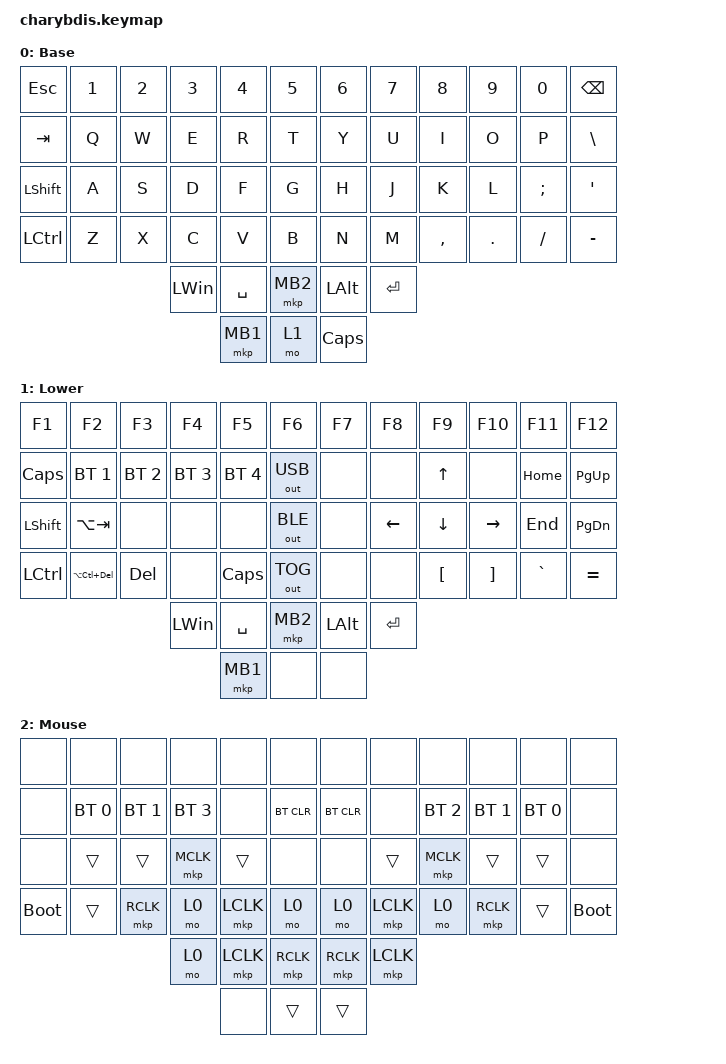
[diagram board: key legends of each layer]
#include <behaviors/mouse_keys.dtsi>
#include <behaviors.dtsi>
#include <dt-bindings/zmk/bt.h>
#include <dt-bindings/zmk/keys.h>
#include <dt-bindings/zmk/mouse.h>
#include <dt-bindings/zmk/outputs.h>

&lt {
    tapping-term-ms = <240>;
    flavor = "balanced";
    quick-tap-ms = <150>;
};

/ {
    combos {
        compatible = "zmk,combos";

        zx-la {
            bindings = <&mo 2>;
            key-positions = <37 38>;
        };
    };

    keymap {
        compatible = "zmk,keymap";

        Base {
            label = "Base";
            bindings = <
&kp ESC         &kp N1  &kp N2  &kp N3        &kp N4     &kp N5      &kp N6    &kp N7     &kp N8     &kp N9      &kp N0    &kp BACKSPACE
&kp TAB         &kp Q   &kp W   &kp E         &kp R      &kp T       &kp Y     &kp U      &kp I      &kp O       &kp P     &kp BSLH
&kp LEFT_SHIFT  &kp A   &kp S   &kp D         &kp F      &kp G       &kp H     &kp J      &kp K      &kp L       &kp SEMI  &kp SQT
&kp LCTRL       &kp Z   &kp X   &kp C         &kp V      &kp B       &kp N     &kp M      &kp COMMA  &kp PERIOD  &kp FSLH  &kp MINUS
                                &kp LEFT_WIN  &kp SPACE  &mkp MB2    &kp LALT  &kp ENTER
                                              &mkp MB1   &mo 1       &kp CAPS
            >;
        };

        Lower {
            label = "Lower";
            bindings = <
&kp F1          &kp F2           &kp F3        &kp F4        &kp F5        &kp F6          &kp F7    &kp F8     &kp F9            &kp F10            &kp F11    &kp F12
&kp CAPS        &bt BT_SEL 1     &bt BT_SEL 2  &bt BT_SEL 3  &bt BT_SEL 4  &out OUT_USB    &none     &none      &kp UP            &none              &kp HOME   &kp PAGE_UP
&kp LEFT_SHIFT  &kp LA(TAB)      &none         &none         &none         &out OUT_BLE    &none     &kp LEFT   &kp DOWN          &kp RIGHT          &kp END    &kp PAGE_DOWN
&kp LCTRL       &kp LA(LC(DEL))  &kp DEL       &none         &kp CAPS      &out OUT_TOG    &none     &none      &kp LEFT_BRACKET  &kp RIGHT_BRACKET  &kp GRAVE  &kp EQUAL
                                               &kp LEFT_WIN  &kp SPACE     &mkp MB2        &kp LALT  &kp ENTER
                                                             &mkp MB1      &none           &none
            >;
        };

        Mouse {
            bindings = <
&none        &none         &none         &none         &none      &none         &none       &none      &none         &none         &none         &none
&none        &bt BT_SEL 0  &bt BT_SEL 1  &bt BT_SEL 3  &none      &bt BT_CLR    &bt BT_CLR  &none      &bt BT_SEL 2  &bt BT_SEL 1  &bt BT_SEL 0  &none
&none        &trans        &trans        &mkp MCLK     &trans     &none         &none       &trans     &mkp MCLK     &trans        &trans        &none
&bootloader  &trans        &mkp RCLK     &mo 0         &mkp LCLK  &mo 0         &mo 0       &mkp LCLK  &mo 0         &mkp RCLK     &trans        &bootloader
                                         &mo 0         &mkp LCLK  &mkp RCLK     &mkp RCLK   &mkp LCLK
                                                       &none      &trans        &trans
            >;
        };
    };
};
